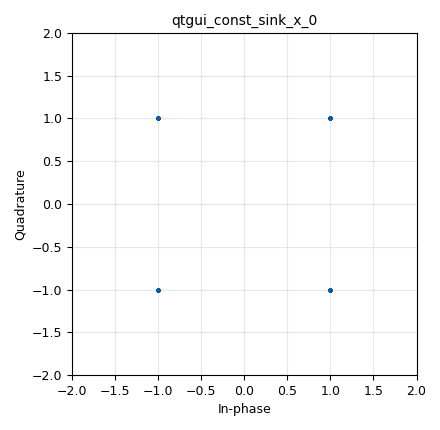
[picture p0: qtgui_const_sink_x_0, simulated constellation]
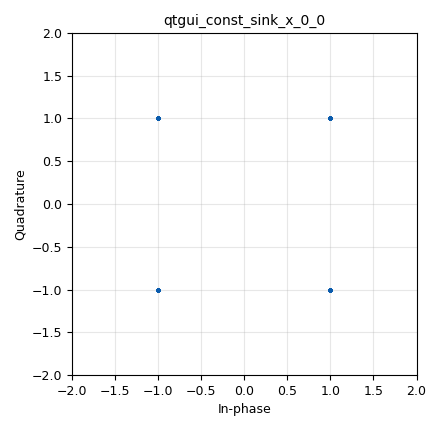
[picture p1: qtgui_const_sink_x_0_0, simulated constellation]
options:
  parameters:
    author: Juan David Barrero
    generate_options: qt_gui
    id: QPSK
    output_language: python
    title: QPSK
  states: {}

blocks:
- name: noise
  id: variable_qtgui_range
  parameters:
    label: noise
    orient: Qt.Horizontal
    start: '0'
    step: '10e-3'
    stop: '0.1'
    value: '100e-6'
  states: {}
- name: samp_rate
  id: variable
  parameters:
    value: '32000'
  states: {}
- name: analog_noise_source_x_0
  id: analog_noise_source_x
  parameters:
    amp: noise
    noise_type: analog.GR_GAUSSIAN
    seed: '0'
    type: complex
  states: {}
- name: blocks_add_const_vxx_0
  id: blocks_add_const_vxx
  parameters:
    const: '-1'
    type: float
  states: {}
- name: blocks_add_const_vxx_0_0
  id: blocks_add_const_vxx
  parameters:
    const: '-1'
    type: float
  states: {}
- name: blocks_add_xx_0
  id: blocks_add_xx
  parameters:
    type: complex
  states: {}
- name: blocks_float_to_complex_0
  id: blocks_float_to_complex
  parameters: {}
  states: {}
- name: blocks_multiply_const_vxx_0
  id: blocks_multiply_const_vxx
  parameters:
    const: '2'
    type: float
  states: {}
- name: blocks_multiply_const_vxx_0_0
  id: blocks_multiply_const_vxx
  parameters:
    const: '2'
    type: float
  states: {}
- name: blocks_vector_source_x_0
  id: blocks_vector_source_x
  parameters:
    repeat: 'True'
    type: float
    vector: (0,1,1, 0)
  states: {}
- name: blocks_vector_source_x_0_0
  id: blocks_vector_source_x
  parameters:
    repeat: 'True'
    type: float
    vector: (0,0,1, 1)
  states: {}
- name: qtgui_const_sink_x_0
  id: qtgui_const_sink_x
  parameters:
    size: '1024'
    type: complex
  states: {}
- name: qtgui_const_sink_x_0_0
  id: qtgui_const_sink_x
  parameters:
    size: '1024'
    type: complex
  states: {}

connections:
- [analog_noise_source_x_0, '0', blocks_add_xx_0, '0']
- [blocks_add_const_vxx_0, '0', blocks_float_to_complex_0, '0']
- [blocks_add_const_vxx_0_0, '0', blocks_float_to_complex_0, '1']
- [blocks_add_xx_0, '0', qtgui_const_sink_x_0, '0']
- [blocks_float_to_complex_0, '0', blocks_add_xx_0, '1']
- [blocks_float_to_complex_0, '0', qtgui_const_sink_x_0_0, '0']
- [blocks_multiply_const_vxx_0, '0', blocks_add_const_vxx_0, '0']
- [blocks_multiply_const_vxx_0_0, '0', blocks_add_const_vxx_0_0, '0']
- [blocks_vector_source_x_0, '0', blocks_multiply_const_vxx_0, '0']
- [blocks_vector_source_x_0_0, '0', blocks_multiply_const_vxx_0_0, '0']

metadata:
  file_format: 1
